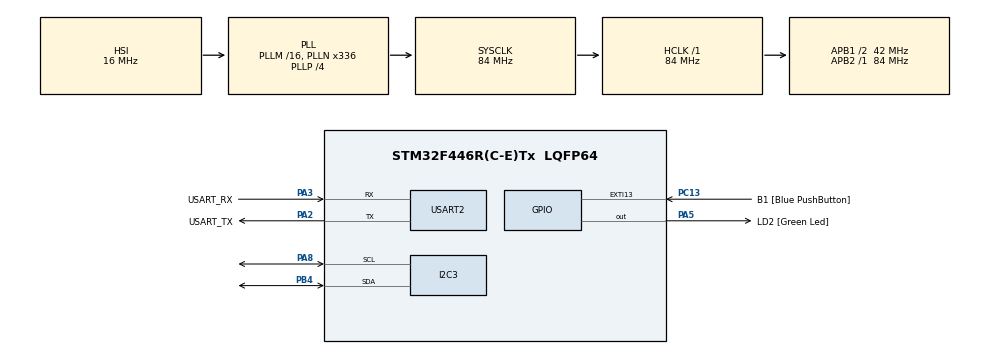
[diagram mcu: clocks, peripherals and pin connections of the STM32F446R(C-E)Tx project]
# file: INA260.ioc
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Mcu.Family=STM32F4
Mcu.Name=STM32F446R(C-E)Tx
Mcu.Package=LQFP64
NVIC.PriorityGroup=NVIC_PRIORITYGROUP_0
PA13.GPIO_Label=TMS
PA13.Mode=Serial_Wire
PA13.Signal=SYS_JTMS-SWDIO
PA14.GPIO_Label=TCK
PA14.Mode=Serial_Wire
PA14.Signal=SYS_JTCK-SWCLK
PA2.GPIO_Label=USART_TX
PA2.Mode=Asynchronous
PA2.Signal=USART2_TX
PA3.GPIO_Label=USART_RX
PA3.Mode=Asynchronous
PA3.Signal=USART2_RX
PA5.GPIO_Label=LD2 [Green Led]
PA5.Signal=GPIO_Output
PA8.Mode=I2C
PA8.Signal=I2C3_SCL
PB3.GPIO_Label=SWO
PB3.Signal=SYS_JTDO-SWO
PB4.Mode=I2C
PB4.Signal=I2C3_SDA
PB8.Signal=I2C1_SCL
PB9.Signal=I2C1_SDA
PC13.GPIO_Label=B1 [Blue PushButton]
PC13.GPIO_ModeDefaultEXTI=GPIO_MODE_IT_FALLING
PC13.Signal=GPXTI13
PC14-OSC32_IN.Mode=LSE-External-Oscillator
PC14-OSC32_IN.Signal=RCC_OSC32_IN
PC15-OSC32_OUT.Mode=LSE-External-Oscillator
PC15-OSC32_OUT.Signal=RCC_OSC32_OUT
PH0-OSC_IN.Mode=HSE-External-Oscillator
PH0-OSC_IN.Signal=RCC_OSC_IN
PH1-OSC_OUT.Mode=HSE-External-Oscillator
PH1-OSC_OUT.Signal=RCC_OSC_OUT
ProjectManager.HeapSize=0x200
ProjectManager.StackSize=0x400
ProjectManager.TargetToolchain=STM32CubeIDE
RCC.48MHZClocksFreq_Value=84000000
RCC.AHBFreq_Value=84000000
RCC.APB1CLKDivider=RCC_HCLK_DIV2
RCC.APB1Freq_Value=42000000
RCC.APB1TimFreq_Value=84000000
RCC.APB2Freq_Value=84000000
RCC.APB2TimFreq_Value=84000000
RCC.CortexFreq_Value=84000000
RCC.FLatency-AdvancedSettings=FLASH_LATENCY_2
RCC.HCLKFreq_Value=84000000
RCC.HSE_VALUE=8000000
RCC.HSI_VALUE=16000000
RCC.PLLN=336
RCC.PLLP=RCC_PLLP_DIV4
RCC.SYSCLKFreq_VALUE=84000000
RCC.SYSCLKSource=RCC_SYSCLKSOURCE_PLLCLK
RCC.USBFreq_Value=168000000
RCC.VCOOutputFreq_Value=336000000
USART2.VirtualMode=VM_ASYNC
board=NUCLEO-F446RE

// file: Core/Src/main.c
/* USER CODE BEGIN Header */
/**
  ******************************************************************************
  * @file           : main.c
  * @brief          : Main program body
  ******************************************************************************
  * @attention
  *
  * <h2><center>&copy; Copyright (c) 2019 STMicroelectronics.
  * All rights reserved.</center></h2>
  *
  * This software component is licensed by ST under BSD 3-Clause license,
  * the "License"; You may not use this file except in compliance with the
  * License. You may obtain a copy of the License at:
  *                        opensource.org/licenses/BSD-3-Clause
  *
  ******************************************************************************
  */
/* USER CODE END Header */

#include "main.h"

/* USER CODE BEGIN Includes */
#include <stdio.h>
#include "INA260.h"
/* USER CODE END Includes */

I2C_HandleTypeDef hi2c3;

UART_HandleTypeDef huart2;

/* USER CODE BEGIN PV */
void __io_putchar(uint8_t ch) {
	HAL_UART_Transmit(&huart2, &ch, 1, 1);
}
/* USER CODE END PV */

void SystemClock_Config(void);
static void MX_GPIO_Init(void);
static void MX_USART2_UART_Init(void);
static void MX_I2C3_Init(void);

int main(void)
{

  /* MCU Configuration--------------------------------------------------------*/

  /* Reset of all peripherals, Initializes the Flash interface and the Systick. */
  HAL_Init();

  /* Configure the system clock */
  SystemClock_Config();

  /* Initialize all configured peripherals */
  MX_GPIO_Init();
  MX_USART2_UART_Init();
  MX_I2C3_Init();
  /* USER CODE BEGIN 2 */
  HAL_Delay(100);
  printf("Hello INA260 test!\n");
  printf("Who am I = %04x\n", ina260_who_am_i());

  set_torquer_OCP(500.0);//最大電流を500mAに設定

  printf("Mask/EnableRegister = %02x\n", reset_torquer_OCP());

  HAL_Delay(500);

  int n = 0;
  /* USER CODE END 2 */

  /* Infinite loop */
  while (1)
  {

    /* USER CODE BEGIN 3 */
	  float v, i;
	  	  v = get_torquer_voltage_f();
	  	  i = get_torquer_current_f();
	  	  printf("V = %6.2f[mV] I= %6.2f[mA]", v, i);

	  	  //5秒に1回リセット
	  	  if (n % 50 == 0) {
	  		  reset_torquer_OCP();
	  		  printf("  Reset OCP");
	  	  }

	  	  printf("\n");
	  	  HAL_Delay(100);
	  	  n++;
  }
  /* USER CODE END 3 */
}

void SystemClock_Config(void)
{
  RCC_OscInitTypeDef RCC_OscInitStruct = {0};
  RCC_ClkInitTypeDef RCC_ClkInitStruct = {0};

  /** Configure the main internal regulator output voltage
  */
  __HAL_RCC_PWR_CLK_ENABLE();
  __HAL_PWR_VOLTAGESCALING_CONFIG(PWR_REGULATOR_VOLTAGE_SCALE3);
  /** Initializes the CPU, AHB and APB busses clocks
  */
  RCC_OscInitStruct.OscillatorType = RCC_OSCILLATORTYPE_HSI;
  RCC_OscInitStruct.HSIState = RCC_HSI_ON;
  RCC_OscInitStruct.HSICalibrationValue = RCC_HSICALIBRATION_DEFAULT;
  RCC_OscInitStruct.PLL.PLLState = RCC_PLL_ON;
  RCC_OscInitStruct.PLL.PLLSource = RCC_PLLSOURCE_HSI;
  RCC_OscInitStruct.PLL.PLLM = 16;
  RCC_OscInitStruct.PLL.PLLN = 336;
  RCC_OscInitStruct.PLL.PLLP = RCC_PLLP_DIV4;
  RCC_OscInitStruct.PLL.PLLQ = 2;
  RCC_OscInitStruct.PLL.PLLR = 2;
  if (HAL_RCC_OscConfig(&RCC_OscInitStruct) != HAL_OK)
  {
    Error_Handler();
  }
  /** Initializes the CPU, AHB and APB busses clocks
  */
  RCC_ClkInitStruct.ClockType = RCC_CLOCKTYPE_HCLK|RCC_CLOCKTYPE_SYSCLK
                              |RCC_CLOCKTYPE_PCLK1|RCC_CLOCKTYPE_PCLK2;
  RCC_ClkInitStruct.SYSCLKSource = RCC_SYSCLKSOURCE_PLLCLK;
  RCC_ClkInitStruct.AHBCLKDivider = RCC_SYSCLK_DIV1;
  RCC_ClkInitStruct.APB1CLKDivider = RCC_HCLK_DIV2;
  RCC_ClkInitStruct.APB2CLKDivider = RCC_HCLK_DIV1;

  if (HAL_RCC_ClockConfig(&RCC_ClkInitStruct, FLASH_LATENCY_2) != HAL_OK)
  {
    Error_Handler();
  }
}

static void MX_I2C3_Init(void)
{

  hi2c3.Instance = I2C3;
  hi2c3.Init.ClockSpeed = 100000;
  hi2c3.Init.DutyCycle = I2C_DUTYCYCLE_2;
  hi2c3.Init.OwnAddress1 = 0;
  hi2c3.Init.AddressingMode = I2C_ADDRESSINGMODE_7BIT;
  hi2c3.Init.DualAddressMode = I2C_DUALADDRESS_DISABLE;
  hi2c3.Init.OwnAddress2 = 0;
  hi2c3.Init.GeneralCallMode = I2C_GENERALCALL_DISABLE;
  hi2c3.Init.NoStretchMode = I2C_NOSTRETCH_DISABLE;
  if (HAL_I2C_Init(&hi2c3) != HAL_OK)
  {
    Error_Handler();
  }

}

static void MX_USART2_UART_Init(void)
{

  huart2.Instance = USART2;
  huart2.Init.BaudRate = 115200;
  huart2.Init.WordLength = UART_WORDLENGTH_8B;
  huart2.Init.StopBits = UART_STOPBITS_1;
  huart2.Init.Parity = UART_PARITY_NONE;
  huart2.Init.Mode = UART_MODE_TX_RX;
  huart2.Init.HwFlowCtl = UART_HWCONTROL_NONE;
  huart2.Init.OverSampling = UART_OVERSAMPLING_16;
  if (HAL_UART_Init(&huart2) != HAL_OK)
  {
    Error_Handler();
  }

}

static void MX_GPIO_Init(void)
{
  GPIO_InitTypeDef GPIO_InitStruct = {0};

  /* GPIO Ports Clock Enable */
  __HAL_RCC_GPIOC_CLK_ENABLE();
  __HAL_RCC_GPIOH_CLK_ENABLE();
  __HAL_RCC_GPIOA_CLK_ENABLE();
  __HAL_RCC_GPIOB_CLK_ENABLE();

  /*Configure GPIO pin Output Level */
  HAL_GPIO_WritePin(LD2_GPIO_Port, LD2_Pin, GPIO_PIN_RESET);

  /*Configure GPIO pin : B1_Pin */
  GPIO_InitStruct.Pin = B1_Pin;
  GPIO_InitStruct.Mode = GPIO_MODE_IT_FALLING;
  GPIO_InitStruct.Pull = GPIO_NOPULL;
  HAL_GPIO_Init(B1_GPIO_Port, &GPIO_InitStruct);

  /*Configure GPIO pin : LD2_Pin */
  GPIO_InitStruct.Pin = LD2_Pin;
  GPIO_InitStruct.Mode = GPIO_MODE_OUTPUT_PP;
  GPIO_InitStruct.Pull = GPIO_NOPULL;
  GPIO_InitStruct.Speed = GPIO_SPEED_FREQ_LOW;
  HAL_GPIO_Init(LD2_GPIO_Port, &GPIO_InitStruct);

  /*Configure GPIO pins : PB8 PB9 */
  GPIO_InitStruct.Pin = GPIO_PIN_8|GPIO_PIN_9;
  GPIO_InitStruct.Mode = GPIO_MODE_AF_OD;
  GPIO_InitStruct.Pull = GPIO_PULLUP;
  GPIO_InitStruct.Speed = GPIO_SPEED_FREQ_VERY_HIGH;
  GPIO_InitStruct.Alternate = GPIO_AF4_I2C1;
  HAL_GPIO_Init(GPIOB, &GPIO_InitStruct);

}

void Error_Handler(void)
{
}

/************************ (C) COPYRIGHT STMicroelectronics *****END OF FILE****/
